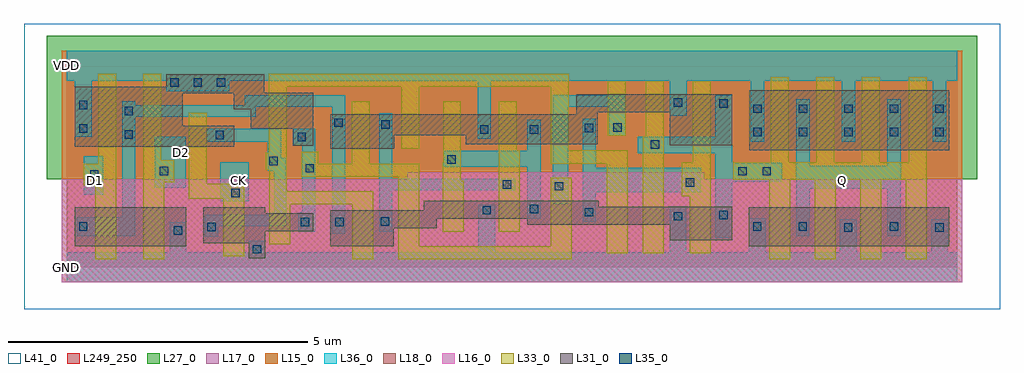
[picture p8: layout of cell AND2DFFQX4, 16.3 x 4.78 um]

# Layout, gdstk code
import gdstk
lib = gdstk.Library(unit=1e-6, precision=1e-09)
def R(c, l, rs):  # rectangles x0, y0, x1, y1
    for r in rs: c.add(gdstk.rectangle(r[:2], r[2:], *l))
def A(c, l, x, y, w, h, nx, ny, dx, dy):  # array of equal rectangles
    R(c, l, [(x+i*dx, y+j*dy, x+i*dx+w, y+j*dy+h) for i in range(nx) for j in range(ny)])
def P(c, l, *ps):  # polygons
    for p in ps: c.add(gdstk.Polygon(p, *l))
L15_0 = (15, 0)
L16_0 = (16, 0)
L17_0 = (17, 0)
L18_0 = (18, 0)
L27_0 = (27, 0)
L31_0 = (31, 0)
L33_0 = (33, 0)
L35_0 = (35, 0)
L36_0 = (36, 0)
L41_0 = (41, 0)
L249_250 = (249, 250)

and2dffqx4 = lib.new_cell('AND2DFFQX4')
P(and2dffqx4, L15_0, [(-0.08,1.47),(-0.08,3.61),(14.96,3.61),(14.96,1.47),(10.653,1.47),(10.653,1.58),(5.691,1.58),(5.691,1.47)])
P(and2dffqx4, L16_0, [(-0.08,-0.25),(-0.08,1.47),(5.691,1.47),(5.691,1.58),(10.653,1.58),(10.653,1.47),(14.96,1.47),(14.96,-0.25)])
P(and2dffqx4, L17_0, [(-0.08,1.47),(-0.08,3.61),(14.96,3.61),(14.96,1.47),(10.653,1.47),(10.653,1.58),(5.691,1.58),(5.691,1.47)])
P(and2dffqx4, L18_0, [(-0.08,-0.25),(-0.08,1.47),(5.691,1.47),(5.691,1.58),(10.653,1.58),(10.653,1.47),(14.96,1.47),(14.96,-0.25)])
P(and2dffqx4, L27_0, [(-0.33,1.47),(-0.33,3.86),(15.21,3.86),(15.21,1.47),(10.653,1.47),(10.653,1.58),(5.691,1.58),(5.691,1.47)])
R(and2dffqx4, L31_0, [(0.14,0.35,2,1), (11.395,0.35,14.74,1), (11.399,1.95,14.74,2.95)])
P(and2dffqx4, L31_0, [(1.66,2.009),(1.66,2.01),(0.14,2.01),(0.14,3.01),(1.662,3.01),(1.662,3.22),(3.299,3.22),(3.299,2.91),(4.123,2.91),(4.123,2.024),(3.779,2.024),(3.779,2.31),(3.079,2.31),(3.079,2.639),(2.797,2.639),(2.797,2.901),(1.939,2.901),(1.939,2.359),(2.799,2.359),(2.799,2.009)],
  [(4.403,1.98),(4.403,2.55),(8.513,2.55),(8.513,2.887),(11.115,2.887),(11.115,2.037),(10.075,2.037),(10.075,2.587),(8.868,2.587),(8.868,2.05),(6.668,2.05),(6.668,2.2),(5.472,2.2),(5.472,1.98)],
  [(4.404,0.35),(4.404,0.95),(5.964,0.95),(5.964,1.11),(8.889,1.11),(8.889,1.01),(11.115,1.01),(11.115,0.45),(10.071,0.45),(10.071,0.71),(7.698,0.71),(7.698,0.81),(6.184,0.81),(6.184,0.65),(5.463,0.65),(5.463,0.35)],
  [(3.04,0.148),(3.04,0.397),(2.28,0.397),(2.28,0.997),(3.32,0.997),(3.32,0.902),(4.124,0.902),(4.124,0.602),(3.32,0.602),(3.32,0.148)])
R(and2dffqx4, L33_0, [(9.041,2.19,9.341,3.107)])
P(and2dffqx4, L33_0, [(6.284,0.59),(6.284,1.743),(6.288,1.743),(6.288,2.77),(6.588,2.77),(6.588,1.441),(6.634,1.441),(6.634,0.59)],
  [(7.218,0.59),(7.218,2.77),(7.518,2.77),(7.518,1.95),(7.568,1.95),(7.568,0.59)],
  [(2.62,0.177),(2.62,1.138),(2.039,1.138),(2.039,2.579),(2.339,2.579),(2.339,1.388),(2.97,1.388),(2.97,0.177)],
  [(9.621,0.23),(9.621,2.188),(9.675,2.188),(9.675,3.107),(9.975,3.107),(9.975,2.138),(9.971,2.138),(9.971,0.23)],
  [(10.411,0.23),(10.411,1.182),(10.271,1.182),(10.271,1.755),(10.461,1.755),(10.461,3.107),(10.761,3.107),(10.761,0.23)],
  [(11.735,0.13),(11.735,1.46),(11.138,1.46),(11.138,1.755),(11.759,1.755),(11.759,3.17),(12.059,3.17),(12.059,1.755),(12.519,1.755),(12.519,3.17),(12.819,3.17),(12.819,1.755),(13.279,1.755),(13.279,3.17),(13.579,3.17),(13.579,1.755),(14.069,1.755),(14.069,3.17),(14.369,3.17),(14.369,0.13),(14.019,0.13),(14.019,1.46),(13.609,1.46),(13.609,0.13),(13.259,0.13),(13.259,1.46),(12.845,1.46),(12.845,0.13),(12.495,0.13),(12.495,1.46),(12.085,1.46),(12.085,0.13)],
  [(5.544,0.13),(5.544,1.51),(3.92,1.51),(3.92,1.924),(4.202,1.924),(4.202,1.73),(4.763,1.73),(4.763,2.77),(5.063,2.77),(5.063,1.73),(5.894,1.73),(5.894,0.35),(8.087,0.35),(8.087,1.49),(8.437,1.49),(8.437,0.13)],
  [(4.769,0.13),(4.769,1.05),(3.74,1.05),(3.74,0.382),(3.39,0.382),(3.39,1.629),(3.329,1.629),(3.329,1.909),(3.379,1.909),(3.379,3.23),(8.387,3.23),(8.387,1.95),(9.371,1.95),(9.371,0.23),(9.021,0.23),(9.021,1.73),(8.087,1.73),(8.087,3.01),(5.893,3.01),(5.893,1.98),(5.593,1.98),(5.593,3.01),(3.679,3.01),(3.679,1.909),(3.68,1.909),(3.68,1.27),(5.119,1.27),(5.119,0.13)],
  [(1.28,0.13),(1.28,3.23),(1.58,3.23),(1.58,1.781),(1.799,1.781),(1.799,1.419),(1.63,1.419),(1.63,0.13)],
  [(0.48,0.13),(0.48,1.364),(0.286,1.364),(0.286,1.726),(0.53,1.726),(0.53,3.23),(0.83,3.23),(0.83,0.13)])
A(and2dffqx4, L35_0, 11.469, 2.185, 0.14, 0.14, 5, 2, 0.76, 0.39)
A(and2dffqx4, L35_0, 1.732, 3.01, 0.14, 0.14, 3, 1, 0.39, 0)
R(and2dffqx4, L35_0, [(3.11,0.228,3.25,0.368), (1.79,0.54,1.93,0.68), (12.985,0.593,13.125,0.733), (14.509,0.593,14.649,0.733), (2.35,0.598,2.49,0.738), (0.21,0.605,0.35,0.745), (11.465,0.605,11.605,0.745), (12.225,0.605,12.365,0.745), (13.749,0.605,13.889,0.745), (4.489,0.68,4.629,0.82), (3.91,0.682,4.05,0.822), (5.249,0.69,5.389,0.83), (10.141,0.78,10.281,0.92), (10.905,0.797,11.045,0.937), (8.658,0.845,8.798,0.985), (6.948,0.88,7.088,1.02), (7.738,0.9,7.878,1.04), (2.753,1.167,2.893,1.307), (8.157,1.28,8.297,1.42), (7.288,1.31,7.428,1.45), (10.341,1.342,10.481,1.482), (0.394,1.481,0.534,1.621), (11.222,1.53,11.362,1.67), (11.625,1.53,11.765,1.67), (1.561,1.536,1.701,1.676), (3.992,1.58,4.132,1.72), (3.389,1.699,3.529,1.839), (6.358,1.73,6.498,1.87), (9.761,1.978,9.901,2.118), (3.858,2.101,3.998,2.241), (2.489,2.135,2.629,2.275), (0.97,2.147,1.11,2.287), (6.906,2.23,7.046,2.37), (7.738,2.23,7.878,2.37), (0.21,2.245,0.35,2.385), (8.658,2.25,8.798,2.39), (9.131,2.26,9.271,2.4), (5.259,2.31,5.399,2.45), (4.473,2.34,4.613,2.48), (0.97,2.537,1.11,2.677), (0.21,2.635,0.35,2.775), (10.905,2.66,11.045,2.8), (10.145,2.677,10.285,2.817)])
R(and2dffqx4, L36_0, [(2.564,1.097,3.044,1.752), (0.285,1.212,0.617,1.851), (1.471,1.321,1.993,2.181)])
P(and2dffqx4, L36_0, [(3.87,0.592),(3.87,0.912),(3.937,0.912),(3.937,2.025),(3.784,2.025),(3.784,2.31),(4.157,2.31),(4.157,0.592)],
  [(8.618,0.755),(8.618,2.48),(8.838,2.48),(8.838,1.663),(10.595,1.663),(10.595,1.252),(8.838,1.252),(8.838,0.755)],
  [(7.698,0.81),(7.698,1.68),(6.288,1.68),(6.288,1.94),(7.698,1.94),(7.698,2.46),(7.918,2.46),(7.918,0.81)],
  [(8.118,1.047),(8.118,2.87),(9.341,2.87),(9.341,2.19),(9.061,2.19),(9.061,2.68),(8.378,2.68),(8.378,1.047)],
  [(12.185,0.515),(12.185,0.835),(12.189,0.835),(12.189,2.805),(12.409,2.805),(12.409,1.692),(13.709,1.692),(13.709,2.805),(13.929,2.805),(13.929,0.515),(13.709,0.515),(13.709,1.307),(12.409,1.307),(12.409,0.807),(12.405,0.807),(12.405,0.515)],
  [(5.219,0.59),(5.219,2.57),(5.439,2.57),(5.439,1.475),(7.498,1.475),(7.498,1.285),(5.439,1.285),(5.439,0.59)],
  [(0,-0.25),(0,0.25),(1.72,0.25),(1.72,0.75),(2,0.75),(2,0.25),(3.04,0.25),(3.04,0.443),(3.32,0.443),(3.32,0.25),(6.878,0.25),(6.878,1.045),(7.158,1.045),(7.158,0.25),(10.071,0.25),(10.071,1.012),(10.351,1.012),(10.351,0.25),(11.395,0.25),(11.395,0.815),(11.675,0.815),(11.675,0.25),(12.915,0.25),(12.915,0.803),(13.195,0.803),(13.195,0.25),(14.439,0.25),(14.439,0.803),(14.719,0.803),(14.719,0.25),(14.88,0.25),(14.88,-0.25)],
  [(10.835,0.49),(10.835,1.903),(9.541,1.903),(9.541,2.178),(10.835,2.178),(10.835,2.87),(11.115,2.87),(11.115,1.74),(11.949,1.74),(11.949,1.428),(11.115,1.428),(11.115,0.49)],
  [(2.31,0.508),(2.31,0.873),(3.47,0.873),(3.47,1.61),(3.363,1.61),(3.363,1.83),(3.364,1.83),(3.364,2.09),(2.343,2.09),(2.343,2.31),(3.584,2.31),(3.584,1.83),(3.67,1.83),(3.67,0.683),(2.53,0.683),(2.53,0.508)],
  [(0.17,0.515),(0.17,0.835),(0.93,0.835),(0.93,2.767),(1.15,2.767),(1.15,2.7),(2.973,2.7),(2.973,2.87),(4.655,2.87),(4.655,0.56),(4.435,0.56),(4.435,0.59),(4.431,0.59),(4.431,0.91),(4.435,0.91),(4.435,2.68),(3.163,2.68),(3.163,2.51),(1.15,2.51),(1.15,0.515)],
  [(11.429,2.095),(11.429,3.11),(10.355,3.11),(10.355,2.53),(10.075,2.53),(10.075,3.11),(7.086,3.11),(7.086,2.14),(6.866,2.14),(6.866,3.11),(2.722,3.11),(2.722,2.94),(1.662,2.94),(1.662,3.11),(0.42,3.11),(0.42,2.175),(0.14,2.175),(0.14,3.11),(0,3.11),(0,3.61),(14.88,3.61),(14.88,3.11),(14.689,3.11),(14.689,2.095),(14.469,2.095),(14.469,3.11),(13.169,3.11),(13.169,2.095),(12.949,2.095),(12.949,3.11),(11.649,3.11),(11.649,2.095)])
R(and2dffqx4, L41_0, [(-0.71,-0.708,15.59,4.068)])
R(and2dffqx4, L249_250, [(0,0,14.88,3.36)])
and2dffqx4.add(gdstk.Label('D1', (0.48,1.44), layer=211, texttype=0))
and2dffqx4.add(gdstk.Label('D2', (1.92,1.92), layer=211, texttype=0))
and2dffqx4.add(gdstk.Label('CK', (2.88,1.44), layer=211, texttype=0))
and2dffqx4.add(gdstk.Label('VDD', (0,3.36), layer=211, texttype=0))
and2dffqx4.add(gdstk.Label('GND', (0,0), layer=211, texttype=0))
and2dffqx4.add(gdstk.Label('Q', (12.96,1.44), layer=211, texttype=0))

lib.write_gds('AND2DFFQX4.gds')
